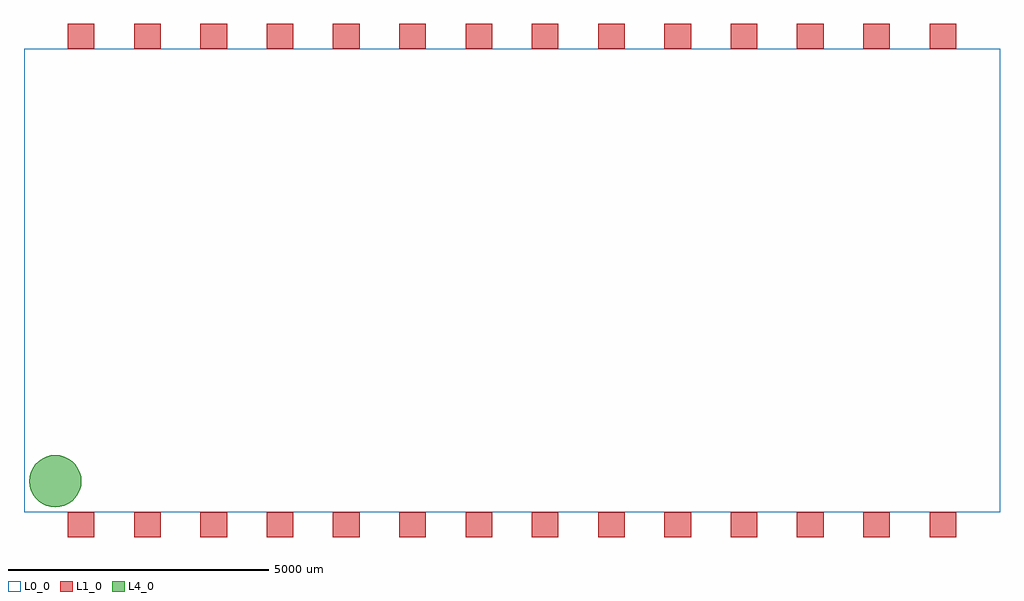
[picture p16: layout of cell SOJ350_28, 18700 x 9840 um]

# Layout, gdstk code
import gdstk
lib = gdstk.Library(unit=1e-6, precision=1e-09)
def R(c, l, rs):  # rectangles x0, y0, x1, y1
    for r in rs: c.add(gdstk.rectangle(r[:2], r[2:], *l))
def A(c, l, x, y, w, h, nx, ny, dx, dy):  # array of equal rectangles
    R(c, l, [(x+i*dx, y+j*dy, x+i*dx+w, y+j*dy+h) for i in range(nx) for j in range(ny)])
def P(c, l, *ps):  # polygons
    for p in ps: c.add(gdstk.Polygon(p, *l))
L0_0 = (0, 0)
L1_0 = (1, 0)
L4_0 = (4, 0)
L99_1 = (99, 1)
L99_2 = (99, 2)
L99_3 = (99, 3)
L99_4 = (99, 4)
L99_5 = (99, 5)
L99_6 = (99, 6)
L99_7 = (99, 7)
L99_8 = (99, 8)
L99_9 = (99, 9)
L99_10 = (99, 10)
L99_11 = (99, 11)
L99_12 = (99, 12)
L99_13 = (99, 13)
L99_14 = (99, 14)
L99_15 = (99, 15)
L99_16 = (99, 16)
L99_17 = (99, 17)
L99_18 = (99, 18)
L99_19 = (99, 19)
L99_20 = (99, 20)
L99_21 = (99, 21)
L99_22 = (99, 22)
L99_23 = (99, 23)
L99_24 = (99, 24)
L99_25 = (99, 25)
L99_26 = (99, 26)
L99_27 = (99, 27)
L99_28 = (99, 28)

soj350_28 = lib.new_cell('SOJ350_28')
R(soj350_28, L0_0, [(0,0,18700,8890)])
A(soj350_28, L1_0, 840, -475, 510, 475, 14, 2, 1270, 9365)
P(soj350_28, L4_0, [(1100,600),(1092.404,513.176),(1069.846,428.99),(1033.013,350),(983.022,278.606),(921.394,216.978),(850,166.987),(771.01,130.154),(686.824,107.596),(600,100),(513.176,107.596),(428.99,130.154),(350,166.987),(278.606,216.978),(216.978,278.606),(166.987,350),(130.154,428.99),(107.596,513.176),(100,600),(107.596,686.824),(130.154,771.01),(166.987,850),(216.978,921.394),(278.606,983.022),(350,1033.013),(428.99,1069.846),(513.176,1092.404),(600,1100),(686.824,1092.404),(771.01,1069.846),(850,1033.013),(921.394,983.022),(983.022,921.394),(1033.013,850),(1069.846,771.01),(1092.404,686.824)])
soj350_28.add(gdstk.FlexPath([(1350,0),(840,0)], 0, ends="round", simple_path=True, layer=99, datatype=1))  # L99_1
soj350_28.add(gdstk.FlexPath([(2620,0),(2110,0)], 0, ends="round", simple_path=True, layer=99, datatype=2))  # L99_2
soj350_28.add(gdstk.FlexPath([(3890,0),(3380,0)], 0, ends="round", simple_path=True, layer=99, datatype=3))  # L99_3
soj350_28.add(gdstk.FlexPath([(5160,0),(4650,0)], 0, ends="round", simple_path=True, layer=99, datatype=4))  # L99_4
soj350_28.add(gdstk.FlexPath([(6430,0),(5920,0)], 0, ends="round", simple_path=True, layer=99, datatype=5))  # L99_5
soj350_28.add(gdstk.FlexPath([(7700,0),(7190,0)], 0, ends="round", simple_path=True, layer=99, datatype=6))  # L99_6
soj350_28.add(gdstk.FlexPath([(8970,0),(8460,0)], 0, ends="round", simple_path=True, layer=99, datatype=7))  # L99_7
soj350_28.add(gdstk.FlexPath([(10240,0),(9730,0)], 0, ends="round", simple_path=True, layer=99, datatype=8))  # L99_8
soj350_28.add(gdstk.FlexPath([(11510,0),(11000,0)], 0, ends="round", simple_path=True, layer=99, datatype=9))  # L99_9
soj350_28.add(gdstk.FlexPath([(12780,0),(12270,0)], 0, ends="round", simple_path=True, layer=99, datatype=10))  # L99_10
soj350_28.add(gdstk.FlexPath([(14050,0),(13540,0)], 0, ends="round", simple_path=True, layer=99, datatype=11))  # L99_11
soj350_28.add(gdstk.FlexPath([(15320,0),(14810,0)], 0, ends="round", simple_path=True, layer=99, datatype=12))  # L99_12
soj350_28.add(gdstk.FlexPath([(16590,0),(16080,0)], 0, ends="round", simple_path=True, layer=99, datatype=13))  # L99_13
soj350_28.add(gdstk.FlexPath([(17860,0),(17350,0)], 0, ends="round", simple_path=True, layer=99, datatype=14))  # L99_14
soj350_28.add(gdstk.FlexPath([(840,8890),(1350,8890)], 0, ends="round", simple_path=True, layer=99, datatype=28))  # L99_28
soj350_28.add(gdstk.FlexPath([(2110,8890),(2620,8890)], 0, ends="round", simple_path=True, layer=99, datatype=27))  # L99_27
soj350_28.add(gdstk.FlexPath([(3380,8890),(3890,8890)], 0, ends="round", simple_path=True, layer=99, datatype=26))  # L99_26
soj350_28.add(gdstk.FlexPath([(4650,8890),(5160,8890)], 0, ends="round", simple_path=True, layer=99, datatype=25))  # L99_25
soj350_28.add(gdstk.FlexPath([(5920,8890),(6430,8890)], 0, ends="round", simple_path=True, layer=99, datatype=24))  # L99_24
soj350_28.add(gdstk.FlexPath([(7190,8890),(7700,8890)], 0, ends="round", simple_path=True, layer=99, datatype=23))  # L99_23
soj350_28.add(gdstk.FlexPath([(8460,8890),(8970,8890)], 0, ends="round", simple_path=True, layer=99, datatype=22))  # L99_22
soj350_28.add(gdstk.FlexPath([(9730,8890),(10240,8890)], 0, ends="round", simple_path=True, layer=99, datatype=21))  # L99_21
soj350_28.add(gdstk.FlexPath([(11000,8890),(11510,8890)], 0, ends="round", simple_path=True, layer=99, datatype=20))  # L99_20
soj350_28.add(gdstk.FlexPath([(12270,8890),(12780,8890)], 0, ends="round", simple_path=True, layer=99, datatype=19))  # L99_19
soj350_28.add(gdstk.FlexPath([(13540,8890),(14050,8890)], 0, ends="round", simple_path=True, layer=99, datatype=18))  # L99_18
soj350_28.add(gdstk.FlexPath([(14810,8890),(15320,8890)], 0, ends="round", simple_path=True, layer=99, datatype=17))  # L99_17
soj350_28.add(gdstk.FlexPath([(16080,8890),(16590,8890)], 0, ends="round", simple_path=True, layer=99, datatype=16))  # L99_16
soj350_28.add(gdstk.FlexPath([(17350,8890),(17860,8890)], 0, ends="round", simple_path=True, layer=99, datatype=15))  # L99_15

lib.write_gds('SOJ350_28.gds')
